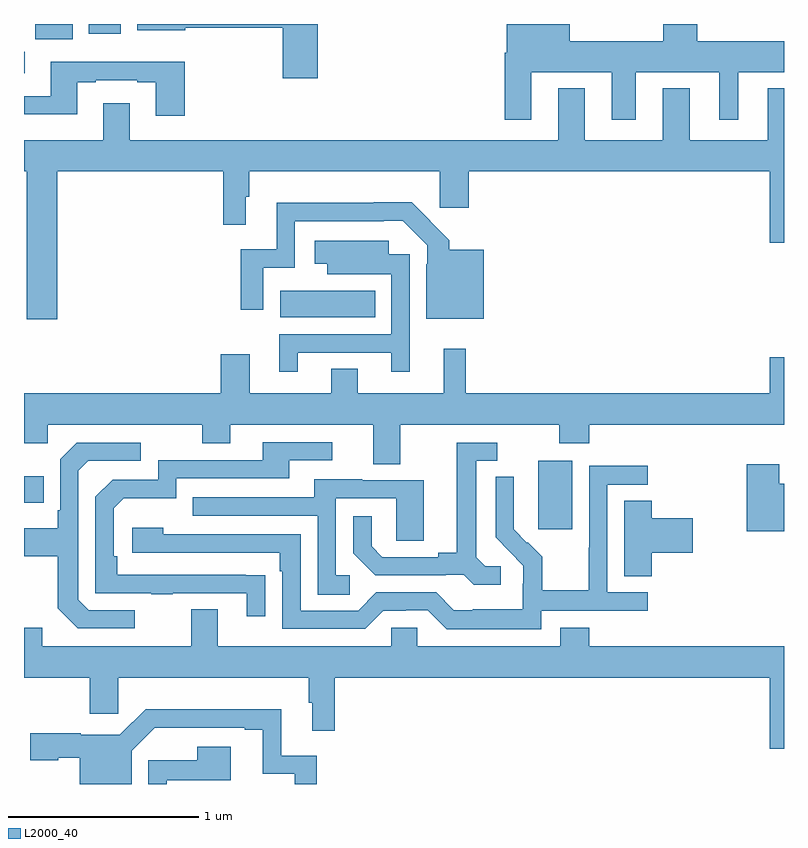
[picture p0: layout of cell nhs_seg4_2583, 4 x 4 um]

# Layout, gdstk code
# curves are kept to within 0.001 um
import gdstk
lib = gdstk.Library(unit=1e-6, precision=1e-09)
def R(c, l, rs):  # rectangles x0, y0, x1, y1
    for r in rs: c.add(gdstk.rectangle(r[:2], r[2:], *l))
def P(c, l, *ps):  # polygons
    for p in ps: c.add(gdstk.Polygon(p, *l))
L2000_40 = (2000, 40)

nhs_seg4_2583 = lib.new_cell('nhs_seg4_2583')
R(nhs_seg4_2583, L2000_40, [(247.706,824.241,247.885,824.602), (245,824.381,245.105,824.521), (246.348,825.356,246.848,825.496), (245,826.641,245.005,826.754), (245.06,826.82,245.257,826.9), (245.342,826.848,245.509,826.9)])
P(nhs_seg4_2583, L2000_40, [(247.669,826.646),(248.093,826.646),(248.093,826.395),(248.221,826.395),(248.221,826.646),(248.66,826.646),(248.66,826.395),(248.758,826.395),(248.758,826.646),(249,826.646),(249,826.81),(248.543,826.81),(248.543,826.9),(248.365,826.9),(248.365,826.81),(247.873,826.81),(247.873,826.9),(247.541,826.9),(247.541,826.75),(247.529,826.75),(247.529,826.395),(247.669,826.395)],
  [(246.545,826.9),(245.597,826.9),(245.597,826.868),(245.848,826.868),(245.848,826.879),(246.362,826.879),(246.362,826.614),(246.545,826.614)],
  [(245.846,826.702),(245.141,826.702),(245.141,826.521),(245,826.521),(245,826.424),(245.281,826.424),(245.281,826.593),(245.377,826.593),(245.377,826.605),(245.597,826.605),(245.597,826.593),(245.693,826.593),(245.693,826.416),(245.846,826.416)],
  [(246.049,825.843),(246.166,825.843),(246.166,825.992),(246.185,825.992),(246.185,826.124),(247.189,826.124),(247.189,825.933),(247.34,825.933),(247.34,826.124),(248.924,826.124),(248.924,825.75),(249,825.75),(249,826.561),(248.915,826.561),(248.915,826.288),(248.503,826.288),(248.503,826.561),(248.363,826.561),(248.363,826.288),(247.951,826.288),(247.951,826.561),(247.811,826.561),(247.811,826.288),(245.557,826.288),(245.557,826.483),(245.417,826.483),(245.417,826.288),(245,826.288),(245,826.124),(245.014,826.124),(245.014,825.345),(245.174,825.345),(245.174,826.124),(246.049,826.124)],
  [(247.42,825.712),(247.238,825.712),(247.238,825.763),(247.04,825.961),(246.841,825.961),(246.841,825.958),(246.329,825.958),(246.329,825.714),(246.142,825.714),(246.142,825.396),(246.258,825.396),(246.258,825.618),(246.426,825.618),(246.426,825.861),(246.893,825.861),(246.893,825.864),(246.993,825.864),(247.122,825.735),(247.122,825.635),(247.118,825.635),(247.118,825.35),(247.42,825.35)],
  [(246.442,825.171),(246.932,825.171),(246.932,825.069),(247.029,825.069),(247.029,825.687),(246.919,825.687),(246.919,825.76),(246.531,825.76),(246.531,825.638),(246.596,825.638),(246.596,825.584),(246.933,825.584),(246.933,825.267),(246.344,825.267),(246.344,825.069),(246.442,825.069)],
  [(246.757,825.086),(246.617,825.086),(246.617,824.956),(246.187,824.956),(246.187,825.163),(246.035,825.163),(246.035,824.956),(245,824.956),(245,824.693),(245.124,824.693),(245.124,824.792),(245.938,824.792),(245.938,824.693),(246.085,824.693),(246.085,824.792),(246.839,824.792),(246.839,824.584),(246.979,824.584),(246.979,824.792),(247.816,824.792),(247.816,824.693),(247.976,824.693),(247.976,824.792),(249,824.792),(249,825.145),(248.924,825.145),(248.924,824.956),(247.325,824.956),(247.325,825.19),(247.208,825.19),(247.208,824.956),(246.757,824.956)],
  [(246.269,824),(245.492,824.001),(245.492,824.098),(245.472,824.098),(245.472,824.352),(245.525,824.405),(245.802,824.405),(245.802,824.508),(246.397,824.508),(246.397,824.604),(246.622,824.604),(246.622,824.7),(246.257,824.7),(246.257,824.604),(245.706,824.604),(245.706,824.502),(245.466,824.502),(245.376,824.412),(245.376,823.905),(245.671,823.905),(245.671,823.9),(245.783,823.9),(245.783,823.905),(246.173,823.905),(246.173,823.782),(246.269,823.782)],
  [(247.51,824.046),(247.428,824.046),(247.381,824.093),(247.381,824.601),(247.492,824.601),(247.492,824.697),(247.277,824.697),(247.277,824.117),(247.181,824.117),(247.181,824.094),(246.886,824.094),(246.829,824.151),(246.829,824.308),(246.732,824.308),(246.732,824.114),(246.848,823.998),(247.22,823.998),(247.22,824.001),(247.314,824.001),(247.366,823.949),(247.51,823.949)],
  [(245.584,823.815),(245.34,823.815),(245.286,823.869),(245.286,824.55),(245.337,824.601),(245.614,824.601),(245.614,824.697),(245.277,824.697),(245.19,824.61),(245.19,824.341),(245.178,824.341),(245.178,824.245),(245,824.245),(245,824.098),(245.178,824.098),(245.178,823.825),(245.283,823.719),(245.584,823.719)],
  [(249,824.479),(248.974,824.479),(248.974,824.584),(248.804,824.584),(248.804,824.231),(249,824.231)],
  [(247.722,823.812),(248.284,823.812),(248.284,823.908),(248.07,823.908),(248.07,824.475),(248.284,824.475),(248.284,824.574),(247.974,824.574),(247.974,824.144),(247.972,824.144),(247.972,823.921),(247.727,823.921),(247.727,824.095),(247.65,824.172),(247.647,824.169),(247.577,824.24),(247.578,824.516),(247.482,824.516),(247.482,824.198),(247.628,824.05),(247.628,823.953),(247.626,823.953),(247.626,823.819),(247.363,823.819),(247.363,823.815),(247.263,823.815),(247.17,823.908),(246.855,823.908),(246.759,823.812),(246.456,823.812),(246.456,824.214),(245.732,824.214),(245.732,824.248),(245.571,824.248),(245.571,824.118),(246.347,824.118),(246.347,824.021),(246.36,824.021),(246.36,823.716),(246.795,823.716),(246.891,823.812),(247.01,823.812),(247.01,823.815),(247.125,823.815),(247.225,823.715),(247.722,823.715)],
  [(246.715,823.998),(246.642,823.998),(246.642,824.403),(246.96,824.403),(246.96,824.179),(247.105,824.179),(247.105,824.499),(246.781,824.499),(246.781,824.503),(246.527,824.503),(246.527,824.409),(245.887,824.409),(245.887,824.313),(246.546,824.313),(246.546,823.897),(246.715,823.897)],
  [(248.303,824.117),(248.521,824.117),(248.521,824.3),(248.303,824.3),(248.303,824.39),(248.159,824.39),(248.159,823.993),(248.303,823.993)],
  [(249,823.624),(247.976,823.624),(247.976,823.723),(247.823,823.723),(247.823,823.624),(247.071,823.624),(247.071,823.722),(246.933,823.722),(246.933,823.624),(246.019,823.624),(246.019,823.819),(245.879,823.819),(245.879,823.624),(245.095,823.624),(245.095,823.723),(245,823.723),(245,823.46),(245.345,823.46),(245.345,823.269),(245.495,823.269),(245.495,823.46),(246.499,823.46),(246.499,823.328),(246.518,823.328),(246.518,823.179),(246.635,823.179),(246.635,823.46),(248.924,823.46),(248.924,823.086),(249,823.086)],
  [(245.566,823.075),(245.687,823.196),(246.161,823.197),(246.161,823.185),(246.257,823.185),(246.257,822.954),(246.426,822.954),(246.426,822.9),(246.542,822.9),(246.542,823.05),(246.355,823.05),(246.355,823.294),(245.641,823.294),(245.505,823.158),(245.298,823.158),(245.298,823.167),(245.034,823.167),(245.034,823.025),(245.18,823.025),(245.18,823.037),(245.294,823.037),(245.294,822.9),(245.566,822.9)],
  [(245.751,822.92),(246.088,822.92),(246.088,823.096),(245.912,823.096),(245.912,823.024),(245.655,823.024),(245.655,822.9),(245.751,822.9)])

lib.write_gds('nhs_seg4_2583.gds')
